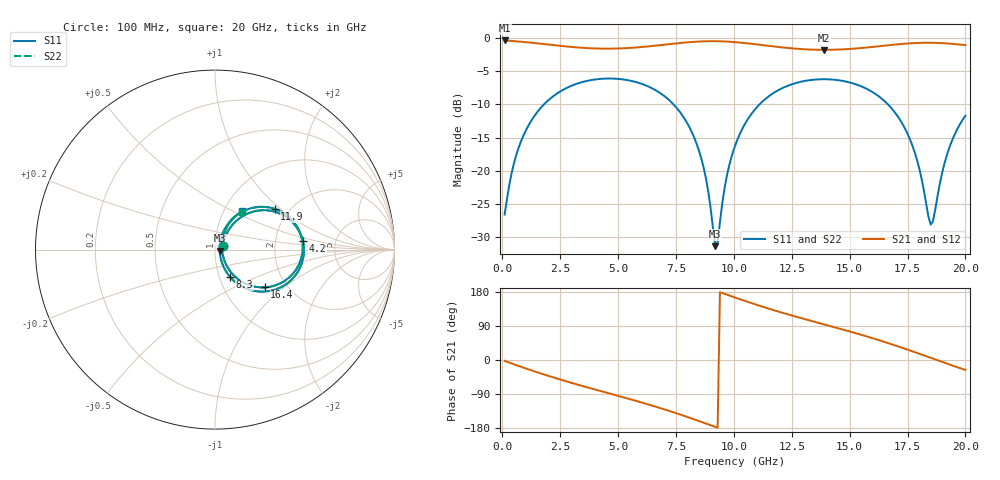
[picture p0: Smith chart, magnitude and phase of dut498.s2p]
! Touchstone file exported from HFSS 2026.1.0
!  File:  C:/ffzhzh/LocalFiles/Ansys_Project_Files/temp_train_TSV_RDL_498_1783106834_37876.aedt
!  Generated:  03:42:02 AM Jul  4, 2026
!  Design:  TSV_RDL
!  Project:  temp_train_TSV_RDL_498_1783106834_37876
! Variables:
!  h_bsmrdl = 2.07um
!  h_ox = 20um
!  h_rdl = 5um
!  h_sub = 65.99um
!  h_tmrdl = 2.22um
!  h_tsv = 65.99um
!  h_via = 3um
!  l_bsmrdl = 728.19um
!  l_sub = 6645.97um
!  l_tmrdl = 979.2um
!  m_sub = 200um
!  pitch = 46.11um
!  r_tsv = 8.91um
!  s_tmrdl = 10um
!  w_bsmrdl = 24.21um
!  w_sub = 500um
!  w_tmrdl = 23.99um
!  x_tsv_center1 = 991.195um
!  x_tsv_center2 = 1743.595um
!  x_tsv_center3 = 2746.785um
!  x_tsv_center4 = 3499.185um
!  x_tsv_center5 = 4502.375um
!  x_tsv_center6 = 5254.775um
# GHz S MA R 50.000000
! Terminal data exported
! Port[1] = TM_RDL1_1_T1
! Port[2] = TM_RDL5_1_T1
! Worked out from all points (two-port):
!   200 points, 100 MHz to 20 GHz, reference 50 ohm
!   highest |S21| = -0.37 dB at 100 MHz (marker M1); lowest = -1.8 dB at 13.9 GHz (marker M2)
!   |S21| within 3 dB of the highest: start of sweep to end of sweep
!   lowest |S11| = -31.4 dB at 9.2 GHz (marker M3), VSWR 1.06, Z = 52.7 - j0.637 ohm
!   |S11| at or under -10 dB: start of sweep to 1.801 GHz; 7.393 GHz to 11.11 GHz (3.716 GHz wide, 40.2 % of centre); 16.65 GHz to end of sweep
!   |S22| runs from -31.1 to -6.1 dB; largest |S21 - S12| = 1.7e-14
!   S11 on the Smith chart (normalised r, x): 100 MHz: 1.09, +0.04; 4.2 GHz: 2.88, +0.36; 8.3 GHz: 1.13, -0.36; 11.9 GHz: 1.69, +0.91; 16.4 GHz: 1.55, -0.74; 20 GHz: 1.21, +0.55
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0.1  0.04674 25.9  0.9586 -2.4  0.9586 -2.4  0.04674 25.9
! Gamma 0 0 0 0
! Port Impedance 50 0 50 0
0.5  0.1132 54.4  0.9481 -11.4  0.9481 -11.4  0.1132 54.4
1.2  0.2302 51.3  0.924 -26.1  0.924 -26.1  0.2302 51.3
3.5  0.468 16.4  0.8428 -69.3  0.8428 -69.3  0.468 16.4
4.2  0.4914 5.6  0.8326 -81.1  0.8326 -81.1  0.4915 5.6
6.8  0.3867 -36.4  0.8827 -126.4  0.8827 -126.4  0.3867 -36.3
8.3  0.1757 -61.0  0.9366 -156.9  0.9366 -156.9  0.1758 -60.9
8.8  0.08669 -62.6  0.9452 -167.7  0.9452 -167.7  0.08691 -62.2
9.2  0.02701 -12.9  0.9464 -176.5  0.9464 -176.5  0.02771 -12.6
9.3  0.02899 24.6  0.9458 -178.7  0.9458 -178.7  0.02964 24.0
9.7  0.09177 64.1  0.9402 172.5  0.9402 172.5  0.09197 63.7
10.1  0.1623 63.1  0.9297 163.9  0.9297 163.9  0.1624 62.8
10.9  0.2881 51.2  0.8991 147.3  0.8991 147.3  0.2881 51.0
11.9  0.4028 34.3  0.8568 128.2  0.8568 128.2  0.4029 34.2
13.4  0.4842 10.3  0.8174 102.2  0.8174 102.2  0.4843 10.2
13.9  0.4893 2.5  0.8145 93.9  0.8145 93.9  0.4893 2.4
16.4  0.3475 -37.2  0.8721 49.8  0.8721 49.8  0.3475 -37.3
16.7  0.3101 -42.1  0.8833 43.9  0.8833 43.9  0.3101 -42.2
17.7  0.1566 -54.7  0.9138 23.2  0.9138 23.2  0.1567 -54.7
18.5  0.03927 -2.2  0.9209 5.8  0.9209 5.8  0.03975 -2.3
19.2  0.1311 62.2  0.9105 -9.5  0.9105 -9.5  0.1313 61.9
20  0.2595 55.0  0.884 -26.2  0.884 -26.2  0.2597 54.7
